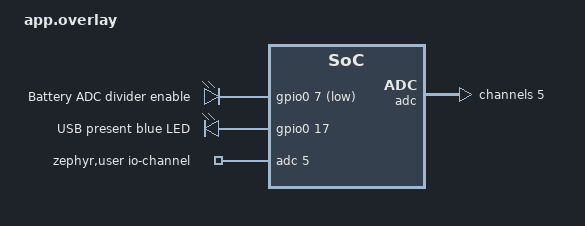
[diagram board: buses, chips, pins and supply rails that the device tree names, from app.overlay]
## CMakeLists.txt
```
cmake_minimum_required(VERSION 3.20.0)

find_package(Zephyr REQUIRED HINTS $ENV{ZEPHYR_BASE})
project(imec_battery_usb_test)

target_sources(app PRIVATE src/main.c)
```

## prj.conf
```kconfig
CONFIG_GPIO=y
CONFIG_ADC=y
CONFIG_PWM=y

CONFIG_LOG=y
CONFIG_LOG_DEFAULT_LEVEL=3
CONFIG_LOG_BUFFER_SIZE=2048
CONFIG_LOG_PROCESS_THREAD=y
CONFIG_LOG_PROCESS_THREAD_STACK_SIZE=1024
CONFIG_LOG_MODE_DEFERRED=y
CONFIG_LOG_BACKEND_RTT=y
CONFIG_USE_SEGGER_RTT=y

CONFIG_MAIN_STACK_SIZE=2048
CONFIG_ASSERT=y
```

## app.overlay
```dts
#include <zephyr/dt-bindings/gpio/gpio.h>
#include <zephyr/dt-bindings/adc/adc.h>
#include <zephyr/dt-bindings/adc/nrf-saadc.h>
#include <zephyr/dt-bindings/pinctrl/nrf-pinctrl.h>
#include <zephyr/dt-bindings/pwm/pwm.h>

/ {
	aliases {
		battery-adc-enable = &battery_adc_enable;
		battery-green-pwm = &pwm_led0;
		usb-blue = &usb_blue;
	};

	battery_control {
		compatible = "gpio-leds";

		battery_adc_enable: battery_adc_enable {
			gpios = <&gpio0 7 GPIO_ACTIVE_LOW>;
			label = "Battery ADC divider enable";
		};
	};

	usb_indicator {
		compatible = "gpio-leds";

		usb_blue: usb_blue {
			gpios = <&gpio0 17 GPIO_ACTIVE_HIGH>;
			label = "USB present blue LED";
		};
	};

	zephyr,user {
		io-channels = <&adc 5>;
	};
};

&pwm_led0 {
	pwms = <&pwm0 0 PWM_MSEC(2) PWM_POLARITY_NORMAL>;
	label = "Battery voltage green PWM";
};

&pwm0_default {
	group1 {
		psels = <NRF_PSEL(PWM_OUT0, 0, 14)>;
		/delete-property/ nordic,invert;
	};
};

&pwm0_sleep {
	group1 {
		psels = <NRF_PSEL(PWM_OUT0, 0, 14)>;
	};
};

&adc {
	status = "okay";
	#address-cells = <1>;
	#size-cells = <0>;

	battery_adc: channel@5 {
		reg = <5>;
		zephyr,gain = "ADC_GAIN_1_6";
		zephyr,reference = "ADC_REF_INTERNAL";
		zephyr,acquisition-time = <ADC_ACQ_TIME_DEFAULT>;
		zephyr,input-positive = <NRF_SAADC_AIN5>;
		zephyr,resolution = <12>;
	};
};
```

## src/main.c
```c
#include <inttypes.h>
#include <stdint.h>

#include <zephyr/device.h>
#include <zephyr/devicetree.h>
#include <zephyr/drivers/adc.h>
#include <zephyr/drivers/gpio.h>
#include <zephyr/drivers/pwm.h>
#include <zephyr/kernel.h>
#include <zephyr/logging/log.h>
#include <zephyr/sys/util.h>

#include <hal/nrf_power.h>

LOG_MODULE_REGISTER(battery_usb_test, LOG_LEVEL_INF);

#define BATTERY_ADC_NODE DT_PATH(zephyr_user)
#define BATTERY_ADC_ENABLE_NODE DT_ALIAS(battery_adc_enable)
#define BATTERY_GREEN_PWM_NODE DT_ALIAS(battery_green_pwm)
#define USB_BLUE_NODE DT_ALIAS(usb_blue)

#define BATTERY_MIN_MV 3000
#define BATTERY_MAX_MV 4200
#define SAMPLE_PERIOD_MS 100

static const struct adc_dt_spec battery_adc = ADC_DT_SPEC_GET(BATTERY_ADC_NODE);
static const struct gpio_dt_spec battery_adc_enable =
	GPIO_DT_SPEC_GET(BATTERY_ADC_ENABLE_NODE, gpios);
static const struct pwm_dt_spec battery_green_pwm =
	PWM_DT_SPEC_GET(BATTERY_GREEN_PWM_NODE);
static const struct gpio_dt_spec usb_blue = GPIO_DT_SPEC_GET(USB_BLUE_NODE, gpios);

static int read_battery_mv(int32_t *battery_mv, int32_t *divider_mv, int16_t *raw_out)
{
	int16_t raw = 0;
	struct adc_sequence sequence = {
		.buffer = &raw,
		.buffer_size = sizeof(raw),
	};
	int ret;
	int32_t mv;

	adc_sequence_init_dt(&battery_adc, &sequence);

	ret = adc_read_dt(&battery_adc, &sequence);
	if (ret < 0) {
		return ret;
	}

	mv = raw;
	ret = adc_raw_to_millivolts_dt(&battery_adc, &mv);
	if (ret < 0) {
		return ret;
	}

	*raw_out = raw;
	*divider_mv = mv;
	*battery_mv = mv * 2;
	return 0;
}

static uint32_t battery_pwm_pulse(int32_t battery_mv)
{
	int32_t clamped_mv = CLAMP(battery_mv, BATTERY_MIN_MV, BATTERY_MAX_MV);

	if (battery_mv <= BATTERY_MIN_MV) {
		return 0;
	}

	return (uint32_t)(((uint64_t)battery_green_pwm.period *
			   (uint32_t)(clamped_mv - BATTERY_MIN_MV)) /
			  (BATTERY_MAX_MV - BATTERY_MIN_MV));
}

static bool usb_vbus_present(void)
{
#if NRF_POWER_HAS_USBREG
	return nrf_power_usbregstatus_vbusdet_get(NRF_POWER);
#else
	return false;
#endif
}

static uint32_t usb_reg_status(void)
{
#if NRF_POWER_HAS_USBREG
	return nrf_power_usbregstatus_get(NRF_POWER);
#else
	return 0u;
#endif
}

int main(void)
{
	int ret;
	uint32_t log_divider = 0;

	if (!adc_is_ready_dt(&battery_adc)) {
		LOG_ERR("ADC device %s is not ready", battery_adc.dev->name);
		return 0;
	}

	if (!pwm_is_ready_dt(&battery_green_pwm)) {
		LOG_ERR("PWM device %s is not ready", battery_green_pwm.dev->name);
		return 0;
	}

	if (!gpio_is_ready_dt(&battery_adc_enable) ||
	    !gpio_is_ready_dt(&usb_blue)) {
		LOG_ERR("One or more GPIO devices are not ready");
		return 0;
	}

	ret = adc_channel_setup_dt(&battery_adc);
	if (ret < 0) {
		LOG_ERR("adc_channel_setup_dt failed: %d", ret);
		return 0;
	}

	ret = gpio_pin_configure_dt(&battery_adc_enable, GPIO_OUTPUT_ACTIVE);
	if (ret < 0) {
		LOG_ERR("battery ADC enable configure failed: %d", ret);
		return 0;
	}

	ret = gpio_pin_configure_dt(&usb_blue, GPIO_OUTPUT_INACTIVE);
	if (ret < 0) {
		LOG_ERR("USB blue configure failed: %d", ret);
		return 0;
	}

	LOG_INF("battery/USB test firmware started");
	LOG_INF("green PWM=P0.14, 3.0-4.2V scale, blue=P0.17 follows nRF VBUS sense, ADC enable=P0.07 active-low");

	while (true) {
		int32_t battery_mv = 0;
		int32_t divider_mv = 0;
		int16_t raw = 0;
		bool usb_present;
		uint32_t usbreg;
		uint32_t pulse;

		ret = read_battery_mv(&battery_mv, &divider_mv, &raw);
		if (ret < 0) {
			LOG_ERR("battery ADC read failed: %d", ret);
			pulse = 0;
		} else {
			pulse = battery_pwm_pulse(battery_mv);
		}

		(void)pwm_set_pulse_dt(&battery_green_pwm, pulse);

		usbreg = usb_reg_status();
		usb_present = usb_vbus_present();
		(void)gpio_pin_set_dt(&usb_blue, usb_present ? 1 : 0);

		if ((log_divider++ % 10u) == 0u) {
			LOG_INF("battery=%" PRId32 " mV divider=%" PRId32
				" mV raw=%" PRId16
				" green=%u%% usbreg=0x%08" PRIx32 " vbus=%d blue=%d",
				battery_mv, divider_mv, raw,
				(unsigned int)((pulse * 100u) / battery_green_pwm.period),
				usbreg, usb_present ? 1 : 0, usb_present ? 1 : 0);
		}

		k_msleep(SAMPLE_PERIOD_MS);
	}
}
```
